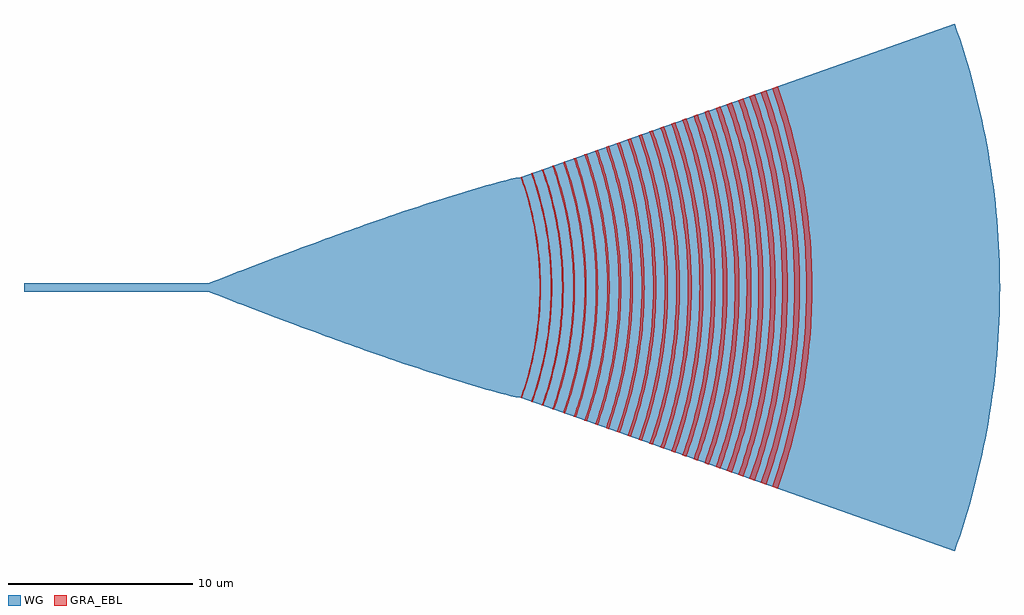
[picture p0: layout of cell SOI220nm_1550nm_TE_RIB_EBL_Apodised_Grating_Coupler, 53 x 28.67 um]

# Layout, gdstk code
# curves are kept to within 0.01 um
import gdstk
lib = gdstk.Library(unit=1e-6, precision=1e-09)
def P(c, l, *ps):  # polygons
    for p in ps: c.add(gdstk.Polygon(p, *l))
WG = (3, 0)
GRA_EBL = (60, 0)

soi220nm_1550nm_te_rib_e = lib.new_cell('SOI220nm_1550nm_TE_RIB_EBL_Apodised_Grating_Coupler')
P(soi220nm_1550nm_te_rib_e, WG, [(50.539,-14.333),(26.97,-6),(26.44,-5.892),(25.644,-5.692),(23.788,-5.157),(21.667,-4.484),(19.28,-3.676),(17.424,-3.02),(15.038,-2.148),(12.121,-1.047),(9.999,-0.224),(0,-0.225),(0,0.225),(9.999,0.224),(12.121,1.047),(15.038,2.148),(17.424,3.02),(19.28,3.676),(21.667,4.484),(23.788,5.157),(25.644,5.692),(26.44,5.892),(26.97,6),(50.539,14.333),(50.835,13.469),(51.111,12.598),(51.37,11.722),(51.609,10.841),(52.032,9.064),(52.379,7.271),(52.65,5.465),(52.843,3.648),(52.96,1.826),(52.999,0),(52.96,-1.826),(52.843,-3.648),(52.65,-5.465),(52.379,-7.271),(52.032,-9.064),(51.609,-10.841),(51.37,-11.722),(51.111,-12.598),(50.835,-13.469)])
P(soi220nm_1550nm_te_rib_e, GRA_EBL, [(27.027,-6.02),(26.97,-6),(27.21,-5.273),(27.418,-4.538),(27.595,-3.794),(27.672,-3.419),(27.772,-2.855),(27.854,-2.287),(27.935,-1.527),(27.983,-0.764),(27.999,0),(27.983,0.764),(27.935,1.527),(27.854,2.287),(27.772,2.855),(27.672,3.419),(27.595,3.794),(27.418,4.538),(27.21,5.273),(26.97,6),(27.027,6.02),(27.268,5.291),(27.477,4.553),(27.654,3.807),(27.8,3.054),(27.914,2.295),(27.995,1.532),(28.043,0.766),(28.059,0),(28.043,-0.766),(27.995,-1.532),(27.914,-2.295),(27.8,-3.054),(27.654,-3.807),(27.477,-4.553),(27.268,-5.291)],
  [(27.61,-6.226),(27.543,-6.202),(27.791,-5.452),(28.054,-4.5),(28.229,-3.729),(28.371,-2.951),(28.48,-2.168),(28.555,-1.382),(28.59,-0.79),(28.606,0),(28.59,0.79),(28.555,1.382),(28.48,2.168),(28.371,2.951),(28.229,3.729),(28.054,4.5),(27.791,5.452),(27.543,6.202),(27.61,6.226),(27.859,5.472),(28.074,4.709),(28.258,3.937),(28.408,3.158),(28.526,2.373),(28.61,1.585),(28.661,0.793),(28.677,0),(28.661,-0.793),(28.61,-1.585),(28.526,-2.373),(28.408,-3.158),(28.258,-3.937),(28.074,-4.709),(27.859,-5.472)],
  [(28.194,-6.433),(28.117,-6.405),(28.373,-5.63),(28.646,-4.647),(28.826,-3.851),(28.973,-3.048),(29.085,-2.239),(29.147,-1.63),(29.199,-0.816),(29.216,0),(29.199,0.816),(29.147,1.63),(29.085,2.239),(28.973,3.048),(28.826,3.851),(28.646,4.647),(28.373,5.63),(28.117,6.405),(28.194,6.433),(28.451,5.654),(28.674,4.865),(28.864,4.068),(29.02,3.263),(29.141,2.452),(29.228,1.637),(29.28,0.819),(29.298,0),(29.28,-0.819),(29.228,-1.637),(29.141,-2.452),(29.02,-3.263),(28.864,-4.068),(28.674,-4.865),(28.451,-5.654)],
  [(28.78,-6.64),(28.694,-6.609),(28.957,-5.809),(29.187,-4.999),(29.382,-4.18),(29.577,-3.145),(29.693,-2.311),(29.773,-1.472),(29.818,-0.631),(29.828,0),(29.818,0.631),(29.773,1.472),(29.693,2.311),(29.577,3.145),(29.382,4.18),(29.187,4.999),(28.957,5.809),(28.694,6.609),(28.78,6.64),(29.046,5.836),(29.276,5.022),(29.472,4.199),(29.633,3.368),(29.758,2.531),(29.848,1.69),(29.902,0.845),(29.92,0),(29.902,-0.845),(29.848,-1.69),(29.758,-2.531),(29.633,-3.368),(29.472,-4.199),(29.276,-5.022),(29.046,-5.836)],
  [(29.369,-6.848),(29.272,-6.814),(29.607,-5.781),(29.834,-4.943),(30.069,-3.884),(30.216,-3.028),(30.302,-2.382),(30.385,-1.518),(30.423,-0.868),(30.441,0),(30.423,0.868),(30.385,1.518),(30.302,2.382),(30.216,3.028),(30.069,3.884),(29.834,4.943),(29.607,5.781),(29.272,6.814),(29.369,6.848),(29.642,6.019),(29.88,5.18),(30.082,4.331),(30.248,3.474),(30.377,2.611),(30.47,1.743),(30.525,0.872),(30.544,0),(30.525,-0.872),(30.47,-1.743),(30.377,-2.611),(30.248,-3.474),(30.082,-4.331),(29.88,-5.18),(29.642,-6.019)],
  [(29.959,-7.057),(29.852,-7.019),(30.132,-6.169),(30.376,-5.309),(30.583,-4.439),(30.79,-3.34),(30.886,-2.676),(30.981,-1.786),(31.038,-0.894),(31.057,0),(31.038,0.894),(30.981,1.786),(30.886,2.676),(30.79,3.34),(30.583,4.439),(30.376,5.309),(30.132,6.169),(29.852,7.019),(29.959,7.057),(30.241,6.203),(30.486,5.337),(30.694,4.463),(30.865,3.58),(30.998,2.69),(31.094,1.796),(31.151,0.899),(31.17,0),(31.151,-0.899),(31.094,-1.796),(30.998,-2.69),(30.865,-3.58),(30.694,-4.463),(30.486,-5.337),(30.241,-6.203)],
  [(30.551,-7.266),(30.434,-7.225),(30.723,-6.35),(31.03,-5.241),(31.279,-4.118),(31.435,-3.21),(31.552,-2.297),(31.614,-1.609),(31.663,-0.69),(31.674,0),(31.663,0.69),(31.614,1.609),(31.552,2.297),(31.435,3.21),(31.279,4.118),(31.03,5.241),(30.723,6.35),(30.434,7.225),(30.551,7.266),(30.841,6.387),(31.094,5.496),(31.308,4.595),(31.484,3.686),(31.621,2.77),(31.719,1.849),(31.778,0.925),(31.798,0),(31.778,-0.925),(31.719,-1.849),(31.621,-2.77),(31.484,-3.686),(31.308,-4.595),(31.094,-5.496),(30.841,-6.387)],
  [(31.145,-7.476),(31.018,-7.431),(31.315,-6.532),(31.631,-5.391),(31.841,-4.468),(32.047,-3.302),(32.141,-2.598),(32.231,-1.655),(32.282,-0.71),(32.293,0),(32.282,0.71),(32.231,1.655),(32.141,2.598),(32.047,3.302),(31.841,4.468),(31.631,5.391),(31.315,6.532),(31.018,7.431),(31.145,7.476),(31.444,6.571),(31.704,5.655),(31.924,4.728),(32.105,3.792),(32.246,2.85),(32.347,1.903),(32.408,0.952),(32.428,0),(32.408,-0.952),(32.347,-1.903),(32.246,-2.85),(32.105,-3.792),(31.924,-4.728),(31.704,-5.655),(31.444,-6.571)],
  [(31.741,-7.687),(31.604,-7.638),(31.908,-6.714),(32.234,-5.541),(32.497,-4.353),(32.661,-3.394),(32.758,-2.67),(32.851,-1.701),(32.893,-0.973),(32.914,0),(32.893,0.973),(32.851,1.701),(32.758,2.67),(32.661,3.394),(32.497,4.353),(32.234,5.541),(31.978,6.481),(31.604,7.638),(31.741,7.687),(32.048,6.756),(32.315,5.814),(32.542,4.861),(32.728,3.899),(32.873,2.931),(32.977,1.956),(33.04,0.979),(33.06,0),(33.04,-0.979),(32.977,-1.956),(32.873,-2.931),(32.728,-3.899),(32.542,-4.861),(32.315,-5.814),(32.048,-6.756)],
  [(32.339,-7.898),(32.191,-7.846),(32.576,-6.657),(32.838,-5.692),(33.06,-4.717),(33.277,-3.486),(33.405,-2.495),(33.472,-1.748),(33.516,-0.999),(33.537,0),(33.516,0.999),(33.472,1.748),(33.405,2.495),(33.277,3.486),(33.06,4.717),(32.838,5.692),(32.576,6.657),(32.191,7.846),(32.339,7.898),(32.655,6.942),(32.929,5.974),(33.162,4.995),(33.353,4.007),(33.502,3.011),(33.609,2.01),(33.673,1.006),(33.695,0),(33.673,-1.006),(33.609,-2.01),(33.502,-3.011),(33.353,-4.007),(33.162,-4.995),(32.929,-5.974),(32.655,-6.942)],
  [(32.939,-8.11),(32.78,-8.054),(33.176,-6.834),(33.445,-5.843),(33.672,-4.842),(33.896,-3.579),(33.998,-2.816),(34.096,-1.794),(34.15,-0.769),(34.162,0),(34.15,0.769),(34.096,1.794),(33.998,2.816),(33.896,3.579),(33.672,4.842),(33.445,5.843),(33.176,6.834),(32.78,8.054),(32.939,8.11),(33.263,7.129),(33.545,6.134),(33.784,5.129),(33.98,4.114),(34.134,3.092),(34.243,2.064),(34.309,1.033),(34.331,0),(34.309,-1.033),(34.243,-2.064),(34.134,-3.092),(33.98,-4.114),(33.784,-5.129),(33.545,-6.134),(33.263,-7.129)],
  [(33.541,-8.323),(33.372,-8.263),(33.777,-7.011),(34.053,-5.995),(34.338,-4.71),(34.516,-3.672),(34.65,-2.627),(34.721,-1.841),(34.777,-0.789),(34.789,0),(34.777,0.789),(34.721,1.841),(34.65,2.627),(34.516,3.672),(34.338,4.71),(34.053,5.995),(33.777,7.011),(33.372,8.263),(33.541,8.323),(33.873,7.316),(34.163,6.295),(34.408,5.263),(34.61,4.222),(34.767,3.173),(34.879,2.118),(34.947,1.06),(34.969,0),(34.947,-1.06),(34.879,-2.118),(34.767,-3.173),(34.61,-4.222),(34.408,-5.263),(34.163,-6.295),(33.873,-7.316)],
  [(34.145,-8.537),(33.965,-8.473),(34.381,-7.189),(34.664,-6.147),(34.903,-5.094),(35.138,-3.765),(35.275,-2.694),(35.348,-1.887),(35.406,-0.809),(35.418,0),(35.406,0.809),(35.348,1.887),(35.275,2.694),(35.138,3.765),(34.903,5.094),(34.664,6.147),(34.381,7.189),(33.965,8.473),(34.145,8.537),(34.486,7.503),(34.782,6.457),(35.034,5.399),(35.241,4.33),(35.402,3.255),(35.518,2.173),(35.587,1.087),(35.61,0),(35.587,-1.087),(35.518,-2.173),(35.402,-3.255),(35.241,-4.33),(35.034,-5.399),(34.782,-6.457),(34.486,-7.503)],
  [(34.751,-8.751),(34.56,-8.683),(34.986,-7.367),(35.276,-6.3),(35.575,-4.949),(35.762,-3.858),(35.903,-2.761),(35.978,-1.934),(36.026,-1.106),(36.05,0),(36.026,1.106),(35.978,1.934),(35.903,2.761),(35.762,3.858),(35.575,4.949),(35.276,6.3),(34.986,7.367),(34.56,8.683),(34.751,8.751),(35.1,7.692),(35.404,6.619),(35.663,5.534),(35.875,4.439),(36.04,3.336),(36.158,2.227),(36.229,1.114),(36.253,0),(36.229,-1.114),(36.158,-2.227),(36.04,-3.336),(35.875,-4.439),(35.663,-5.534),(35.404,-6.619),(35.1,-7.692)],
  [(35.359,-8.966),(35.157,-8.894),(35.512,-7.818),(35.891,-6.453),(36.197,-5.069),(36.388,-3.952),(36.501,-3.11),(36.609,-1.981),(36.659,-1.133),(36.683,0),(36.659,1.133),(36.609,1.981),(36.501,3.11),(36.388,3.952),(36.197,5.069),(35.891,6.453),(35.512,7.818),(35.157,8.894),(35.359,8.966),(35.717,7.881),(36.029,6.781),(36.293,5.67),(36.51,4.548),(36.679,3.418),(36.8,2.282),(36.873,1.142),(36.898,0),(36.873,-1.142),(36.8,-2.282),(36.679,-3.418),(36.51,-4.548),(36.293,-5.67),(36.029,-6.781),(35.717,-7.881)],
  [(35.969,-9.181),(35.756,-9.106),(36.203,-7.726),(36.507,-6.606),(36.764,-5.475),(37.017,-4.046),(37.132,-3.184),(37.243,-2.029),(37.304,-0.87),(37.318,0),(37.304,0.87),(37.243,2.029),(37.132,3.184),(37.017,4.046),(36.764,5.475),(36.507,6.606),(36.203,7.726),(35.756,9.106),(35.969,9.181),(36.336,8.07),(36.655,6.945),(36.926,5.806),(37.148,4.658),(37.321,3.5),(37.445,2.337),(37.52,1.169),(37.545,0),(37.52,-1.169),(37.445,-2.337),(37.321,-3.5),(37.148,-4.658),(36.926,-5.806),(36.655,-6.945),(36.336,-8.07)],
  [(36.581,-9.398),(36.357,-9.318),(36.814,-7.906),(37.126,-6.76),(37.446,-5.311),(37.647,-4.141),(37.765,-3.258),(37.878,-2.076),(37.93,-1.187),(37.955,0),(37.93,1.187),(37.878,2.076),(37.798,2.963),(37.647,4.141),(37.446,5.311),(37.126,6.76),(36.814,7.906),(36.357,9.318),(36.581,9.398),(36.957,8.261),(37.283,7.108),(37.56,5.943),(37.788,4.767),(37.965,3.583),(38.092,2.392),(38.168,1.197),(38.194,0),(38.168,-1.197),(38.092,-2.392),(37.965,-3.583),(37.788,-4.767),(37.56,-5.943),(37.283,-7.108),(36.957,-8.261)],
  [(37.196,-9.615),(36.959,-9.531),(37.156,-8.957),(37.427,-8.087),(37.818,-6.62),(38.074,-5.433),(38.323,-3.935),(38.434,-3.031),(38.537,-1.82),(38.58,-0.91),(38.595,0),(38.58,0.91),(38.537,1.82),(38.434,3.031),(38.323,3.935),(38.074,5.433),(37.818,6.62),(37.427,8.087),(37.156,8.957),(36.959,9.531),(37.196,9.615),(37.579,8.451),(37.914,7.273),(38.197,6.081),(38.43,4.878),(38.612,3.666),(38.741,2.447),(38.819,1.225),(38.845,0),(38.819,-1.225),(38.741,-2.447),(38.612,-3.666),(38.43,-4.878),(38.197,-6.081),(37.914,-7.273),(37.579,-8.451)],
  [(37.812,-9.833),(37.564,-9.745),(38.043,-8.269),(38.369,-7.07),(38.704,-5.555),(38.914,-4.331),(39.072,-3.099),(39.156,-2.171),(39.222,-0.931),(39.237,0),(39.222,0.931),(39.156,2.171),(39.072,3.099),(38.914,4.331),(38.704,5.555),(38.369,7.07),(38.043,8.269),(37.564,9.745),(37.812,9.833),(38.205,8.643),(38.546,7.437),(38.836,6.218),(39.074,4.988),(39.26,3.749),(39.393,2.503),(39.473,1.252),(39.499,0),(39.473,-1.252),(39.393,-2.503),(39.26,-3.749),(39.074,-4.988),(38.836,-6.218),(38.546,-7.437),(38.205,-8.643)],
  [(38.431,-10.052),(38.171,-9.96),(38.569,-8.755),(38.993,-7.226),(39.209,-6.299),(39.336,-5.677),(39.551,-4.426),(39.677,-3.482),(39.798,-2.219),(39.865,-0.951),(39.88,0),(39.865,0.951),(39.798,2.219),(39.677,3.482),(39.551,4.426),(39.336,5.677),(39.209,6.299),(38.993,7.226),(38.569,8.755),(38.171,9.96),(38.431,10.052),(38.832,8.835),(39.181,7.603),(39.478,6.357),(39.721,5.099),(39.911,3.832),(40.047,2.559),(40.128,1.28),(40.155,0),(40.128,-1.28),(40.047,-2.559),(39.911,-3.832),(39.721,-5.099),(39.478,-6.357),(39.181,-7.603),(38.832,-8.835)],
  [(39.051,-10.271),(38.78,-10.175),(39.187,-8.944),(39.457,-8.01),(39.62,-7.382),(39.907,-6.118),(40.087,-5.162),(40.19,-4.522),(40.318,-3.558),(40.442,-2.267),(40.499,-1.296),(40.526,0),(40.499,1.296),(40.442,2.267),(40.318,3.558),(40.19,4.522),(40.087,5.162),(39.907,6.118),(39.62,7.382),(39.457,8.01),(39.187,8.944),(38.78,10.175),(39.051,10.271),(39.461,9.028),(39.818,7.769),(40.121,6.496),(40.37,5.21),(40.564,3.916),(40.703,2.614),(40.786,1.308),(40.814,0),(40.786,-1.308),(40.703,-2.614),(40.564,-3.916),(40.37,-5.21),(40.121,-6.496),(39.818,-7.769),(39.461,-9.028)],
  [(39.674,-10.491),(39.392,-10.391),(39.606,-9.765),(39.902,-8.817),(40.249,-7.539),(40.474,-6.572),(40.607,-5.923),(40.726,-5.271),(40.878,-4.29),(40.999,-3.304),(41.111,-1.985),(41.159,-0.993),(41.175,0),(41.159,0.993),(41.111,1.985),(40.999,3.304),(40.878,4.29),(40.726,5.271),(40.607,5.923),(40.474,6.572),(40.249,7.539),(39.902,8.817),(39.606,9.765),(39.392,10.391),(39.674,10.491),(40.093,9.222),(40.458,7.935),(40.767,6.635),(41.021,5.322),(41.219,4),(41.361,2.67),(41.446,1.336),(41.475,0),(41.446,-1.336),(41.361,-2.67),(41.219,-4),(41.021,-5.322),(40.767,-6.635),(40.458,-7.935),(40.093,-9.222)],
  [(40.3,-10.712),(40.005,-10.608),(40.223,-9.969),(40.526,-9.001),(40.797,-8.024),(40.96,-7.368),(41.11,-6.709),(41.308,-5.714),(41.522,-4.379),(41.646,-3.373),(41.737,-2.363),(41.809,-1.013),(41.825,0),(41.809,1.013),(41.737,2.363),(41.646,3.373),(41.522,4.379),(41.308,5.714),(41.11,6.709),(40.96,7.368),(40.797,8.024),(40.526,9.001),(40.223,9.969),(40.005,10.608),(40.3,10.712),(40.727,9.416),(41.099,8.103),(41.415,6.775),(41.675,5.434),(41.877,4.084),(42.022,2.727),(42.109,1.364),(42.138,0),(42.109,-1.364),(42.022,-2.727),(41.877,-4.084),(41.675,-5.434),(41.415,-6.775),(41.099,-8.103),(40.727,-9.416)],
  [(40.927,-10.934),(40.62,-10.826),(40.843,-10.173),(41.152,-9.185),(41.514,-7.854),(41.748,-6.846),(41.886,-6.17),(42.01,-5.492),(42.169,-4.469),(42.295,-3.442),(42.412,-2.068),(42.461,-1.034),(42.478,0),(42.461,1.034),(42.412,2.068),(42.295,3.442),(42.169,4.469),(42.01,5.492),(41.886,6.17),(41.748,6.846),(41.514,7.854),(41.152,9.185),(40.843,10.173),(40.62,10.826),(40.927,10.934),(41.363,9.611),(41.743,8.27),(42.066,6.915),(42.331,5.547),(42.537,4.169),(42.685,2.783),(42.774,1.393),(42.803,0),(42.774,-1.393),(42.685,-2.783),(42.537,-4.169),(42.331,-5.547),(42.066,-6.915),(41.743,-8.27),(41.363,-9.611)])

lib.write_gds('SOI220nm_1550nm_TE_RIB_EBL_Apodised_Grating_Coupler.gds')
